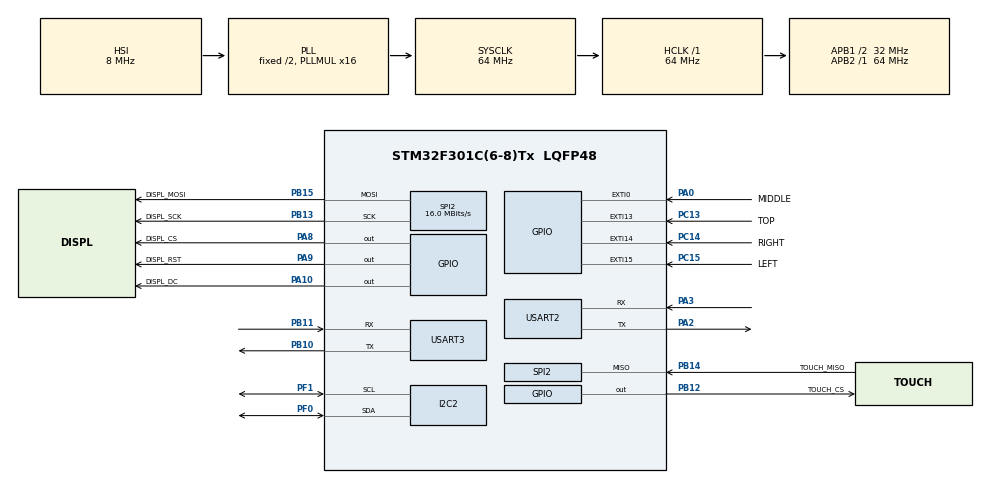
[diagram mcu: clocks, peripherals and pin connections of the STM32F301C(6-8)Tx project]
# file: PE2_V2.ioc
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Mcu.Family=STM32F3
Mcu.Name=STM32F301C(6-8)Tx
Mcu.Package=LQFP48
NVIC.EXTI0_IRQn=true\:0\:0\:false\:false\:true\:true\:true\:true
NVIC.EXTI15_10_IRQn=true\:0\:0\:false\:false\:true\:true\:true\:true
NVIC.PriorityGroup=NVIC_PRIORITYGROUP_4
PA0.GPIO_Label=MIDDLE
PA0.GPIO_ModeDefaultEXTI=GPIO_MODE_IT_FALLING
PA0.GPIO_PuPd=GPIO_PULLUP
PA0.Signal=GPXTI0
PA10.GPIO_Label=DISPL_DC
PA10.Signal=GPIO_Output
PA13.Mode=Trace_Asynchronous_SW
PA13.Signal=SYS_JTMS-SWDIO
PA14.Mode=Trace_Asynchronous_SW
PA14.Signal=SYS_JTCK-SWCLK
PA2.Mode=Asynchronous
PA2.Signal=USART2_TX
PA3.Mode=Asynchronous
PA3.Signal=USART2_RX
PA8.GPIO_Label=DISPL_CS
PA8.Signal=GPIO_Output
PA9.GPIO_Label=DISPL_RST
PA9.Signal=GPIO_Output
PB10.Mode=Asynchronous
PB10.Signal=USART3_TX
PB11.Mode=Asynchronous
PB11.Signal=USART3_RX
PB12.GPIO_Label=TOUCH_CS
PB12.Signal=GPIO_Output
PB13.GPIO_Label=DISPL_SCK
PB13.Mode=Full_Duplex_Master
PB13.Signal=SPI2_SCK
PB14.GPIO_Label=TOUCH_MISO
PB14.Mode=Full_Duplex_Master
PB14.Signal=SPI2_MISO
PB15.GPIO_Label=DISPL_MOSI
PB15.Mode=Full_Duplex_Master
PB15.Signal=SPI2_MOSI
PB3.Mode=Trace_Asynchronous_SW
PB3.Signal=SYS_JTDO-TRACESWO
PC13.GPIO_Label=TOP
PC13.GPIO_ModeDefaultEXTI=GPIO_MODE_IT_FALLING
PC13.GPIO_PuPd=GPIO_PULLUP
PC13.Signal=GPXTI13
PC14\ -\ OSC32_IN.GPIO_Label=RIGHT
PC14\ -\ OSC32_IN.GPIO_ModeDefaultEXTI=GPIO_MODE_IT_FALLING
PC14\ -\ OSC32_IN.GPIO_PuPd=GPIO_PULLUP
PC14\ -\ OSC32_IN.Signal=GPXTI14
PC15\ -\ OSC32_OUT.GPIO_Label=LEFT
PC15\ -\ OSC32_OUT.GPIO_ModeDefaultEXTI=GPIO_MODE_IT_FALLING
PC15\ -\ OSC32_OUT.GPIO_PuPd=GPIO_PULLUP
PC15\ -\ OSC32_OUT.Signal=GPXTI15
PF0-OSC_IN.GPIO_Pu=GPIO_PULLUP
PF0-OSC_IN.GPIO_Speed=GPIO_SPEED_FREQ_HIGH
PF0-OSC_IN.Mode=I2C
PF0-OSC_IN.Signal=I2C2_SDA
PF1-OSC_OUT.GPIO_Pu=GPIO_PULLUP
PF1-OSC_OUT.GPIO_Speed=GPIO_SPEED_FREQ_HIGH
PF1-OSC_OUT.Mode=I2C
PF1-OSC_OUT.Signal=I2C2_SCL
ProjectManager.HeapSize=0x200
ProjectManager.StackSize=0x400
ProjectManager.TargetToolchain=STM32CubeIDE
RCC.AHBFreq_Value=64000000
RCC.APB1CLKDivider=RCC_HCLK_DIV2
RCC.APB1Freq_Value=32000000
RCC.APB1TimFreq_Value=64000000
RCC.APB2Freq_Value=64000000
RCC.APB2TimFreq_Value=64000000
RCC.CortexFreq_Value=64000000
RCC.HCLKFreq_Value=64000000
RCC.HSE_VALUE=8000000
RCC.HSI_VALUE=8000000
RCC.LSE_VALUE=32768
RCC.PLLMUL=RCC_PLL_MUL16
RCC.SYSCLKFreq_VALUE=64000000
RCC.SYSCLKSourceVirtual=RCC_SYSCLKSOURCE_PLLCLK
SPI2.BaudRatePrescaler=SPI_BAUDRATEPRESCALER_2
SPI2.CalculateBaudRate=16.0 MBits/s
SPI2.DataSize=SPI_DATASIZE_8BIT
SPI2.Direction=SPI_DIRECTION_2LINES
SPI2.Mode=SPI_MODE_MASTER
SPI2.VirtualType=VM_MASTER
USART2.VirtualMode-Asynchronous=VM_ASYNC
USART3.VirtualMode-Asynchronous=VM_ASYNC
board=custom

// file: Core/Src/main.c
/* USER CODE BEGIN Header */
/**
  ******************************************************************************
  * @file           : main.c
  * @brief          : Main program body
  ******************************************************************************
  * @attention
  *
  * Copyright (c) 2024 STMicroelectronics.
  * All rights reserved.
  *
  * This software is licensed under terms that can be found in the LICENSE file
  * in the root directory of this software component.
  * If no LICENSE file comes with this software, it is provided AS-IS.
  *
  ******************************************************************************
  */
/* USER CODE END Header */
#include "main.h"

/* USER CODE BEGIN Includes */
#include "game.h"
#include <errno.h>
#include <sys/stat.h>
#include <sys/times.h>
#include <sys/unistd.h>
#include <string.h>
#include <stdarg.h>
#include <math.h>

/* USER CODE END Includes */

I2C_HandleTypeDef hi2c2;

SPI_HandleTypeDef hspi2;

UART_HandleTypeDef huart2;
UART_HandleTypeDef huart3;

/* USER CODE BEGIN PV */

char i2cdata[2];
int16_t ay = 0;
uint16_t x = 116;

#define ADDR_R 0xD0
#define ADDR_W 0xD1
#define REG_WHOAMI 0x75

#define REG_PWR_MGMT 0x6B
#define REG_SMPLRT_DIV 0x19
#define REG_GYRO_CONF 0x1B
#define REG_ACCEL_CONF 0x1C

#define REG_GYRO_XOUT158 0x43
#define REG_GYRO_XOUT70 0x44
#define REG_GYRO_YOUT158 0x45
#define REG_GYRO_YOUT70 0x46
#define REG_GYRO_ZOUT158 0x47
#define REG_GYRO_ZOUT70 0x48

#define REG_ACCEL_XOUT158 0x3B
#define REG_ACCEL_XOUT70 0x3C
#define REG_ACCEL_YOUT158 0x3D
#define REG_ACCEL_YOUT70 0x3E
#define REG_ACCEL_ZOUT158 0x3F
#define REG_ACCEL_ZOUT70 0x40
/* USER CODE END PV */

void SystemClock_Config(void);
static void MX_GPIO_Init(void);
static void MX_I2C2_Init(void);
static void MX_SPI2_Init(void);
static void MX_USART2_UART_Init(void);
static void MX_USART3_UART_Init(void);

/* USER CODE BEGIN 0 */
uint8_t key = 0;
int16_t angle = 90;
uint32_t millis = 0;
uint32_t premillis = 0;
extern uint8_t game_screen[SCREEN_WIDTH][SCREEN_HEIGHT];

int _write(int file, char *ptr, int len) {
    HAL_StatusTypeDef xStatus;
    switch (file) {
    case STDOUT_FILENO: /*stdout*/
		xStatus = HAL_UART_Transmit(&huart3, (uint8_t*)ptr, len, HAL_MAX_DELAY);
		if (xStatus != HAL_OK) {
			errno = EIO;
			return -1;
		}
        break;
    case STDERR_FILENO: /* stderr */
		xStatus = HAL_UART_Transmit(&huart3, (uint8_t*)ptr, len, HAL_MAX_DELAY);
		if (xStatus != HAL_OK) {
			errno = EIO;
			return -1;
		}
        break;
    default:
        errno = EBADF;
        return -1;
    }
    return len;
}

uint8_t read_MPU_mem(uint8_t reg_addr){
	uint8_t data;
	if(HAL_I2C_Mem_Read(&hi2c2, ADDR_R, reg_addr, 1, &data, 1, 100) == HAL_OK){
		return data;
	}
	else{
		printf("mem not read\r\n");
		return 0;
	}
}

void write_MPU_mem(uint8_t reg_addr, uint8_t data){
    if(HAL_I2C_Mem_Write(&hi2c2, ADDR_W, reg_addr, 1, &data, 1, 100) != HAL_OK){
        printf("mem not written\r\n");
    }
}

void read_y_accel(){
	uint8_t LSByte = read_MPU_mem(REG_ACCEL_YOUT70);
	uint8_t MSByte = read_MPU_mem(REG_ACCEL_YOUT158);

	ay = (((int16_t)MSByte << 8) | LSByte);

}

void init_MPU(){
	write_MPU_mem(REG_PWR_MGMT, 0);
	write_MPU_mem(REG_SMPLRT_DIV,0x07);
	write_MPU_mem(REG_GYRO_CONF, 0);
	write_MPU_mem(REG_ACCEL_CONF, 0);
}
void print_balk_test(uint64_t color){
	/*
	for (int j = 0; j < 3; j++) {
		for (int i = 0; i < 90; i++) {
			Displ_Pixel(x + i, 240 - 5 + j, color);
		}
	}
	*/
	Displ_FillArea(x, 235, 88, 3, color);
}

/* USER CODE END 0 */

int main(void)
{

  /* MCU Configuration--------------------------------------------------------*/

  /* Reset of all peripherals, Initializes the Flash interface and the Systick. */
  HAL_Init();

  /* Configure the system clock */
  SystemClock_Config();

  /* Initialize all configured peripherals */
  MX_GPIO_Init();
  MX_I2C2_Init();
  MX_SPI2_Init();
  MX_USART2_UART_Init();
  MX_USART3_UART_Init();
  /* USER CODE BEGIN 2 */
  HAL_Delay(100);
  if(HAL_I2C_IsDeviceReady(&hi2c2, ADDR_R, 1, 100) == HAL_OK){
	  printf("succesfully communicated\n\r");
	  init_MPU();
  }
  else{
	  printf("i2C not found\n\r");
  }

  Displ_Init(Displ_Orientat_90);       // initialize the display and set the initial display orientation (here is orientaton: 0°) - THIS FUNCTION MUST PRECEED ANY OTHER DISPLAY FUNCTION CALL.
  Displ_CLS(BLACK);           // after initialization (above) and before turning on backlight (below), you can draw the initial display appearance. (here I'm just clearing display with a black background)

/*
  for (int y = 0; y < 10; y++) {
      for (int x = 0; x < 10; x++) {
          for (int j = 0; j < 10; j++) {
              for (int i = 0; i < 32; i++) {
                  if (i < 2 || j < 2) {
                      Displ_Pixel((x*32) + i, (y*10) + j, D_GREEN);
                  } else {
                      Displ_Pixel((x*32) + i, (y*10) + j, GREEN);
                  }

              }
          }
      }

  }
*/
  print_balk_test(RED);

  /* USER CODE END 2 */

  /* Infinite loop */
  while (1)
  {

    /* USER CODE BEGIN 3 */
      HAL_Delay(1);

      read_y_accel();
      if (ay > 3000){
          printf("going right\r\n");
          if(x < 320 - 88){
        	  //print_balk_test(BLACK);
        	  //x += 1;
        	  //print_balk_test(RED);
        	  key = right;
          }
      }
      else if (ay < -3000){
          printf("going left\r\n");
          if(x > 0){
        	  //print_balk_test(BLACK);
        	  //x -= 1;
        	  //print_balk_test(RED);
        	  key = left;
          }
      }
      else{
          printf("level\r\n");
      }
      key = loop(key);
      //Displ_FillArea(0, 0, 320, 240, RED);
      displ_game_screen(game_screen);
      //Displ_FillArea(0, 0, 240, 320, RED);

  }
  /* USER CODE END 3 */
}

void SystemClock_Config(void)
{
  RCC_OscInitTypeDef RCC_OscInitStruct = {0};
  RCC_ClkInitTypeDef RCC_ClkInitStruct = {0};
  RCC_PeriphCLKInitTypeDef PeriphClkInit = {0};

  /** Initializes the RCC Oscillators according to the specified parameters
  * in the RCC_OscInitTypeDef structure.
  */
  RCC_OscInitStruct.OscillatorType = RCC_OSCILLATORTYPE_HSI;
  RCC_OscInitStruct.HSIState = RCC_HSI_ON;
  RCC_OscInitStruct.HSICalibrationValue = RCC_HSICALIBRATION_DEFAULT;
  RCC_OscInitStruct.PLL.PLLState = RCC_PLL_ON;
  RCC_OscInitStruct.PLL.PLLSource = RCC_PLLSOURCE_HSI;
  RCC_OscInitStruct.PLL.PLLMUL = RCC_PLL_MUL16;
  if (HAL_RCC_OscConfig(&RCC_OscInitStruct) != HAL_OK)
  {
    Error_Handler();
  }

  /** Initializes the CPU, AHB and APB buses clocks
  */
  RCC_ClkInitStruct.ClockType = RCC_CLOCKTYPE_HCLK|RCC_CLOCKTYPE_SYSCLK
                              |RCC_CLOCKTYPE_PCLK1|RCC_CLOCKTYPE_PCLK2;
  RCC_ClkInitStruct.SYSCLKSource = RCC_SYSCLKSOURCE_PLLCLK;
  RCC_ClkInitStruct.AHBCLKDivider = RCC_SYSCLK_DIV1;
  RCC_ClkInitStruct.APB1CLKDivider = RCC_HCLK_DIV2;
  RCC_ClkInitStruct.APB2CLKDivider = RCC_HCLK_DIV1;

  if (HAL_RCC_ClockConfig(&RCC_ClkInitStruct, FLASH_LATENCY_2) != HAL_OK)
  {
    Error_Handler();
  }
  PeriphClkInit.PeriphClockSelection = RCC_PERIPHCLK_I2C2;
  PeriphClkInit.I2c2ClockSelection = RCC_I2C2CLKSOURCE_HSI;
  if (HAL_RCCEx_PeriphCLKConfig(&PeriphClkInit) != HAL_OK)
  {
    Error_Handler();
  }
}

static void MX_I2C2_Init(void)
{

  hi2c2.Instance = I2C2;
  hi2c2.Init.Timing = 0x2000090E;
  hi2c2.Init.OwnAddress1 = 0;
  hi2c2.Init.AddressingMode = I2C_ADDRESSINGMODE_7BIT;
  hi2c2.Init.DualAddressMode = I2C_DUALADDRESS_DISABLE;
  hi2c2.Init.OwnAddress2 = 0;
  hi2c2.Init.OwnAddress2Masks = I2C_OA2_NOMASK;
  hi2c2.Init.GeneralCallMode = I2C_GENERALCALL_DISABLE;
  hi2c2.Init.NoStretchMode = I2C_NOSTRETCH_DISABLE;
  if (HAL_I2C_Init(&hi2c2) != HAL_OK)
  {
    Error_Handler();
  }

  /** Configure Analogue filter
  */
  if (HAL_I2CEx_ConfigAnalogFilter(&hi2c2, I2C_ANALOGFILTER_ENABLE) != HAL_OK)
  {
    Error_Handler();
  }

  /** Configure Digital filter
  */
  if (HAL_I2CEx_ConfigDigitalFilter(&hi2c2, 0) != HAL_OK)
  {
    Error_Handler();
  }

}

static void MX_SPI2_Init(void)
{

  /* SPI2 parameter configuration*/
  hspi2.Instance = SPI2;
  hspi2.Init.Mode = SPI_MODE_MASTER;
  hspi2.Init.Direction = SPI_DIRECTION_2LINES;
  hspi2.Init.DataSize = SPI_DATASIZE_8BIT;
  hspi2.Init.CLKPolarity = SPI_POLARITY_LOW;
  hspi2.Init.CLKPhase = SPI_PHASE_1EDGE;
  hspi2.Init.NSS = SPI_NSS_SOFT;
  hspi2.Init.BaudRatePrescaler = SPI_BAUDRATEPRESCALER_2;
  hspi2.Init.FirstBit = SPI_FIRSTBIT_MSB;
  hspi2.Init.TIMode = SPI_TIMODE_DISABLE;
  hspi2.Init.CRCCalculation = SPI_CRCCALCULATION_DISABLE;
  hspi2.Init.CRCPolynomial = 7;
  hspi2.Init.CRCLength = SPI_CRC_LENGTH_DATASIZE;
  hspi2.Init.NSSPMode = SPI_NSS_PULSE_ENABLE;
  if (HAL_SPI_Init(&hspi2) != HAL_OK)
  {
    Error_Handler();
  }

}

static void MX_USART2_UART_Init(void)
{

  huart2.Instance = USART2;
  huart2.Init.BaudRate = 38400;
  huart2.Init.WordLength = UART_WORDLENGTH_8B;
  huart2.Init.StopBits = UART_STOPBITS_1;
  huart2.Init.Parity = UART_PARITY_NONE;
  huart2.Init.Mode = UART_MODE_TX_RX;
  huart2.Init.HwFlowCtl = UART_HWCONTROL_NONE;
  huart2.Init.OverSampling = UART_OVERSAMPLING_16;
  huart2.Init.OneBitSampling = UART_ONE_BIT_SAMPLE_DISABLE;
  huart2.AdvancedInit.AdvFeatureInit = UART_ADVFEATURE_NO_INIT;
  if (HAL_UART_Init(&huart2) != HAL_OK)
  {
    Error_Handler();
  }

}

static void MX_USART3_UART_Init(void)
{

  huart3.Instance = USART3;
  huart3.Init.BaudRate = 38400;
  huart3.Init.WordLength = UART_WORDLENGTH_8B;
  huart3.Init.StopBits = UART_STOPBITS_1;
  huart3.Init.Parity = UART_PARITY_NONE;
  huart3.Init.Mode = UART_MODE_TX_RX;
  huart3.Init.HwFlowCtl = UART_HWCONTROL_NONE;
  huart3.Init.OverSampling = UART_OVERSAMPLING_16;
  huart3.Init.OneBitSampling = UART_ONE_BIT_SAMPLE_DISABLE;
  huart3.AdvancedInit.AdvFeatureInit = UART_ADVFEATURE_NO_INIT;
  if (HAL_UART_Init(&huart3) != HAL_OK)
  {
    Error_Handler();
  }

}

static void MX_GPIO_Init(void)
{
  GPIO_InitTypeDef GPIO_InitStruct = {0};

  /* GPIO Ports Clock Enable */
  __HAL_RCC_GPIOC_CLK_ENABLE();
  __HAL_RCC_GPIOF_CLK_ENABLE();
  __HAL_RCC_GPIOA_CLK_ENABLE();
  __HAL_RCC_GPIOB_CLK_ENABLE();

  /*Configure GPIO pin Output Level */
  HAL_GPIO_WritePin(TOUCH_CS_GPIO_Port, TOUCH_CS_Pin, GPIO_PIN_RESET);

  /*Configure GPIO pin Output Level */
  HAL_GPIO_WritePin(GPIOA, DISPL_CS_Pin|DISPL_RST_Pin|DISPL_DC_Pin, GPIO_PIN_RESET);

  /*Configure GPIO pins : TOP_Pin RIGHT_Pin LEFT_Pin */
  GPIO_InitStruct.Pin = TOP_Pin|RIGHT_Pin|LEFT_Pin;
  GPIO_InitStruct.Mode = GPIO_MODE_IT_FALLING;
  GPIO_InitStruct.Pull = GPIO_PULLUP;
  HAL_GPIO_Init(GPIOC, &GPIO_InitStruct);

  /*Configure GPIO pin : MIDDLE_Pin */
  GPIO_InitStruct.Pin = MIDDLE_Pin;
  GPIO_InitStruct.Mode = GPIO_MODE_IT_FALLING;
  GPIO_InitStruct.Pull = GPIO_PULLUP;
  HAL_GPIO_Init(MIDDLE_GPIO_Port, &GPIO_InitStruct);

  /*Configure GPIO pin : TOUCH_CS_Pin */
  GPIO_InitStruct.Pin = TOUCH_CS_Pin;
  GPIO_InitStruct.Mode = GPIO_MODE_OUTPUT_PP;
  GPIO_InitStruct.Pull = GPIO_NOPULL;
  GPIO_InitStruct.Speed = GPIO_SPEED_FREQ_LOW;
  HAL_GPIO_Init(TOUCH_CS_GPIO_Port, &GPIO_InitStruct);

  /*Configure GPIO pins : DISPL_CS_Pin DISPL_RST_Pin DISPL_DC_Pin */
  GPIO_InitStruct.Pin = DISPL_CS_Pin|DISPL_RST_Pin|DISPL_DC_Pin;
  GPIO_InitStruct.Mode = GPIO_MODE_OUTPUT_PP;
  GPIO_InitStruct.Pull = GPIO_NOPULL;
  GPIO_InitStruct.Speed = GPIO_SPEED_FREQ_LOW;
  HAL_GPIO_Init(GPIOA, &GPIO_InitStruct);

  /* EXTI interrupt init*/
  HAL_NVIC_SetPriority(EXTI0_IRQn, 0, 0);
  HAL_NVIC_EnableIRQ(EXTI0_IRQn);

  HAL_NVIC_SetPriority(EXTI15_10_IRQn, 0, 0);
  HAL_NVIC_EnableIRQ(EXTI15_10_IRQn);

}

/* USER CODE BEGIN 4 */
void HAL_GPIO_EXTI_Callback(uint16_t GPIO_Pin){
	printf("interupt!\r\n");
	if(GPIO_Pin == LEFT_Pin){
		key = left;
		printf("left clicked\r\n");
	}
	else if(GPIO_Pin == TOP_Pin){
		key = up;
		printf("up clicked\r\n");
	}
	else if(GPIO_Pin == RIGHT_Pin){
		key = right;
		printf("right clicked\r\n");
	}
	else if(GPIO_Pin == MIDDLE_Pin){
		key = down;
		printf("down clicked\r\n");
	}
}
/* USER CODE END 4 */

void Error_Handler(void)
{
  __disable_irq();
  while (1)
  {
  }
}
